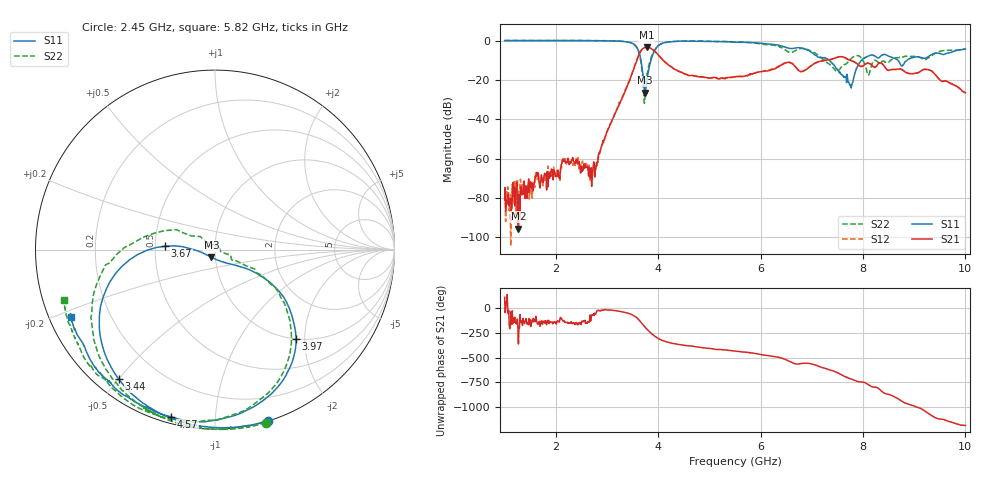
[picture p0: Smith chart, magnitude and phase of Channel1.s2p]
!Agilent Technologies,N5227A,US51270477,A.10.00.00
!File generated by LCAF-GAM-UPV software
!josevmart@iteam.upv.es
!S2P File: Measurements: S11, S21, S12, S22:
# Hz S  dB  R 50
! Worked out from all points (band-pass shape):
!   901 points, 1 GHz to 10 GHz, reference 50 ohm
!   highest |S21| = -3.36 dB at 3.78 GHz (marker M1); lowest = -95.5 dB at 1.27 GHz (marker M2)
!   |S21| within 3 dB of the highest: 3.639 GHz to 3.969 GHz (330.6 MHz wide, 8.69 % of centre)
!   lowest |S11| = -26.5 dB at 3.74 GHz (marker M3), VSWR 1.10, Z = 47.9 - j4.12 ohm
!   |S11| at or under -10 dB: 3.662 GHz to 3.858 GHz (196.3 MHz wide, 5.22 % of centre); 7.345 GHz to 7.972 GHz (627.3 MHz wide, 8.19 % of centre); 8.681 GHz to 8.857 GHz (176.3 MHz wide, 2.01 % of centre)
!   |S22| runs from -31.9 to 0.1 dB; largest |S21 - S12| = 0.055
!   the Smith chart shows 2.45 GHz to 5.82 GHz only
!   S11 on the Smith chart (normalised r, x): 2.45 GHz: 0.00, -1.35; 3.44 GHz: 0.07, -0.50; 3.67 GHz: 0.57, +0.02; 3.97 GHz: 1.00, -1.82; 4.57 GHz: 0.03, -0.77; 5.82 GHz: 0.06, -0.22
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1e9  0.00 -29.1  -81.04 106.4  -78.19 66.1  0.02 -29.2
1.27e9  0.01 -37.1  -95.52 -2.8  -81.65 96.0  0.03 -37.3
2.45e9  -0.01 -72.9  -61.33 -150.7  -65.03 -145.6  0.05 -73.6
2.5e9  -0.02 -74.8  -64.51 -143.3  -63.29 -148.9  0.05 -75.2
2.71e9  -0.04 -82.8  -67.32 -68.4  -70.77 -47.5  0.04 -83.5
3.44e9  -0.92 -126.5  -20.39 -58.8  -19.76 -62.3  -0.91 -132.9
3.67e9  -11.12 176.1  -4.97 -149.7  -4.90 -155.2  -12.32 152.6
3.74e9  -26.51 -114.9  -3.52 167.8  -3.56 165.0  -28.99 -20.0
3.78e9  -19.99 -48.9  -3.36 145.8  -3.43 142.9  -17.40 -28.0
3.97e9  -3.43 -47.8  -6.37 61.6  -6.41 61.1  -3.43 -50.8
4e9  -2.59 -53.8  -7.29 51.9  -7.30 51.6  -2.67 -56.2
4.57e9  -0.34 -104.7  -17.29 -21.5  -17.49 -21.1  -0.21 -106.4
5.5e9  -0.81 -142.3  -18.43 -74.9  -18.47 -74.6  -0.67 -146.4
5.82e9  -1.04 -154.8  -16.91 -93.2  -17.01 -92.5  -1.05 -161.4
7e9  -6.09 142.2  -12.59 155.1  -12.54 154.8  -5.39 142.5
7.49e9  -14.26 124.6  -8.56 71.5  -8.56 71.1  -15.63 151.7
7.76e9  -23.03 174.4  -10.10 6.2  -10.09 7.0  -9.43 169.6
8e9  -9.24 -164.1  -12.87 -26.4  -12.76 -26.5  -10.12 117.8
8.11e9  -7.83 176.6  -11.54 -54.1  -11.52 -54.2  -17.55 144.1
8.5e9  -7.91 120.7  -15.13 -149.3  -15.16 -150.0  -11.03 132.2
9.42e9  -6.39 37.5  -17.52 -26.1  -17.61 -24.1  -6.34 50.5
1e10  -4.39 -18.8  -26.54 -102.2  -26.57 -102.1  -4.12 -24.9
